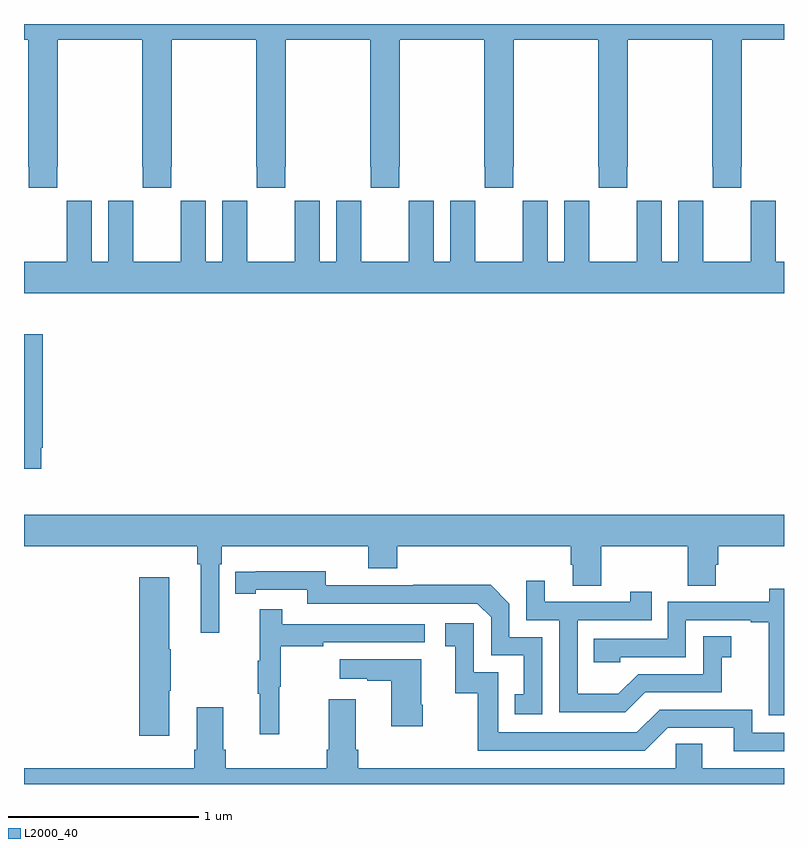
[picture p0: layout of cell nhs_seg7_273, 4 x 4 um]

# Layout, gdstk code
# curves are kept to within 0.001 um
import gdstk
lib = gdstk.Library(unit=1e-6, precision=1e-09)
def P(c, l, *ps):  # polygons
    for p in ps: c.add(gdstk.Polygon(p, *l))
L2000_40 = (2000, 40)

nhs_seg7_273 = lib.new_cell('nhs_seg7_273')
P(nhs_seg7_273, L2000_40, [(131,1033.916),(131.023,1033.916),(131.023,1033.249),(131.025,1033.249),(131.025,1033.137),(131.175,1033.137),(131.175,1033.249),(131.178,1033.249),(131.178,1033.916),(131.623,1033.916),(131.623,1033.249),(131.625,1033.249),(131.625,1033.137),(131.775,1033.137),(131.775,1033.249),(131.778,1033.249),(131.778,1033.916),(132.223,1033.916),(132.223,1033.249),(132.225,1033.249),(132.225,1033.137),(132.375,1033.137),(132.375,1033.249),(132.378,1033.249),(132.378,1033.916),(132.823,1033.916),(132.823,1033.249),(132.825,1033.249),(132.825,1033.137),(132.975,1033.137),(132.975,1033.249),(132.978,1033.249),(132.978,1033.916),(133.423,1033.916),(133.423,1033.249),(133.425,1033.249),(133.425,1033.137),(133.575,1033.137),(133.575,1033.249),(133.578,1033.249),(133.578,1033.916),(134.023,1033.916),(134.023,1033.249),(134.025,1033.249),(134.025,1033.137),(134.175,1033.137),(134.175,1033.249),(134.178,1033.249),(134.178,1033.916),(134.623,1033.916),(134.623,1033.249),(134.625,1033.249),(134.625,1033.137),(134.775,1033.137),(134.775,1033.249),(134.778,1033.249),(134.778,1033.916),(135,1033.916),(135,1034),(131,1034)],
  [(135,1032.748),(134.956,1032.748),(134.956,1033.069),(134.826,1033.069),(134.826,1032.956),(134.825,1032.956),(134.825,1032.748),(134.575,1032.748),(134.575,1032.956),(134.574,1032.956),(134.574,1033.069),(134.444,1033.069),(134.444,1032.748),(134.356,1032.748),(134.356,1033.069),(134.226,1033.069),(134.226,1032.956),(134.225,1032.956),(134.225,1032.748),(133.975,1032.748),(133.975,1032.956),(133.974,1032.956),(133.974,1033.069),(133.844,1033.069),(133.844,1032.748),(133.756,1032.748),(133.756,1033.069),(133.626,1033.069),(133.626,1032.956),(133.625,1032.956),(133.625,1032.748),(133.375,1032.748),(133.375,1032.956),(133.374,1032.956),(133.374,1033.069),(133.244,1033.069),(133.244,1032.748),(133.156,1032.748),(133.156,1033.069),(133.026,1033.069),(133.026,1032.956),(133.025,1032.956),(133.025,1032.748),(132.775,1032.748),(132.775,1032.956),(132.774,1032.956),(132.774,1033.069),(132.644,1033.069),(132.644,1032.748),(132.556,1032.748),(132.556,1033.069),(132.426,1033.069),(132.426,1032.956),(132.425,1032.956),(132.425,1032.748),(132.175,1032.748),(132.175,1032.956),(132.174,1032.956),(132.174,1033.069),(132.044,1033.069),(132.044,1032.748),(131.956,1032.748),(131.956,1033.069),(131.826,1033.069),(131.826,1032.956),(131.825,1032.956),(131.825,1032.748),(131.575,1032.748),(131.575,1032.956),(131.574,1032.956),(131.574,1033.069),(131.444,1033.069),(131.444,1032.748),(131.356,1032.748),(131.356,1033.069),(131.226,1033.069),(131.226,1032.956),(131.225,1032.956),(131.225,1032.748),(131,1032.748),(131,1032.584),(135,1032.584)],
  [(131.092,1031.77),(131.099,1031.77),(131.099,1032.368),(131,1032.368),(131,1031.658),(131.092,1031.658)],
  [(132.027,1031.156),(132.041,1031.156),(132.041,1031.252),(132.812,1031.252),(132.812,1031.135),(132.965,1031.135),(132.965,1031.252),(133.877,1031.252),(133.877,1031.154),(133.889,1031.154),(133.889,1031.044),(134.037,1031.044),(134.037,1031.252),(134.494,1031.252),(134.494,1031.044),(134.641,1031.044),(134.641,1031.154),(134.654,1031.154),(134.654,1031.252),(135,1031.252),(135,1031.416),(131,1031.416),(131,1031.252),(131.911,1031.252),(131.911,1031.156),(131.93,1031.156),(131.93,1030.797),(132.027,1030.797)],
  [(133.728,1030.773),(133.554,1030.773),(133.554,1030.95),(133.456,1031.048),(133.048,1031.048),(133.048,1031.046),(132.588,1031.046),(132.588,1031.119),(132.112,1031.118),(132.112,1031.002),(132.22,1031.002),(132.22,1031.022),(132.492,1031.022),(132.492,1030.95),(133.386,1030.95),(133.458,1030.878),(133.458,1030.677),(133.631,1030.677),(133.631,1030.473),(133.582,1030.473),(133.582,1030.368),(133.728,1030.368)],
  [(131.764,1030.492),(131.772,1030.492),(131.772,1030.709),(131.764,1030.709),(131.764,1031.089),(131.606,1031.089),(131.606,1030.254),(131.764,1030.254)],
  [(134.269,1030.482),(134.673,1030.482),(134.673,1030.667),(134.722,1030.667),(134.722,1030.777),(134.574,1030.777),(134.574,1030.578),(134.232,1030.578),(134.128,1030.474),(133.914,1030.474),(133.914,1030.863),(134.303,1030.863),(134.303,1031.011),(134.192,1031.011),(134.192,1030.959),(133.741,1030.959),(133.741,1031.071),(133.644,1031.071),(133.644,1030.863),(133.818,1030.863),(133.818,1030.377),(134.164,1030.377)],
  [(135,1031.028),(134.922,1031.028),(134.922,1030.959),(134.388,1030.959),(134.388,1030.764),(133.999,1030.764),(133.999,1030.641),(134.139,1030.641),(134.139,1030.668),(134.484,1030.668),(134.484,1030.863),(134.825,1030.863),(134.825,1030.851),(134.921,1030.851),(134.921,1030.567),(134.92,1030.567),(134.92,1030.361),(135,1030.361)],
  [(132.344,1030.512),(132.352,1030.512),(132.352,1030.726),(132.575,1030.726),(132.575,1030.746),(133.108,1030.746),(133.108,1030.842),(132.359,1030.842),(132.359,1030.921),(132.242,1030.921),(132.242,1030.649),(132.231,1030.649),(132.231,1030.475),(132.242,1030.475),(132.242,1030.263),(132.344,1030.263)],
  [(135,1030.269),(134.832,1030.269),(134.832,1030.392),(134.346,1030.392),(134.226,1030.272),(133.497,1030.272),(133.497,1030.587),(133.368,1030.587),(133.368,1030.846),(133.218,1030.846),(133.218,1030.725),(133.271,1030.725),(133.271,1030.478),(133.389,1030.478),(133.389,1030.176),(134.268,1030.176),(134.388,1030.296),(134.735,1030.296),(134.735,1030.173),(135,1030.173)],
  [(133.098,1030.417),(133.09,1030.417),(133.09,1030.657),(132.663,1030.657),(132.663,1030.553),(132.806,1030.553),(132.806,1030.543),(132.932,1030.543),(132.932,1030.305),(133.098,1030.305)],
  [(135,1030.084),(134.569,1030.084),(134.569,1030.211),(134.43,1030.211),(134.43,1030.084),(132.758,1030.084),(132.758,1030.18),(132.745,1030.18),(132.745,1030.447),(132.605,1030.447),(132.605,1030.18),(132.593,1030.18),(132.593,1030.084),(132.062,1030.084),(132.062,1030.18),(132.049,1030.18),(132.049,1030.405),(131.909,1030.405),(131.909,1030.18),(131.897,1030.18),(131.897,1030.084),(131,1030.084),(131,1030),(135,1030)])

lib.write_gds('nhs_seg7_273.gds')
